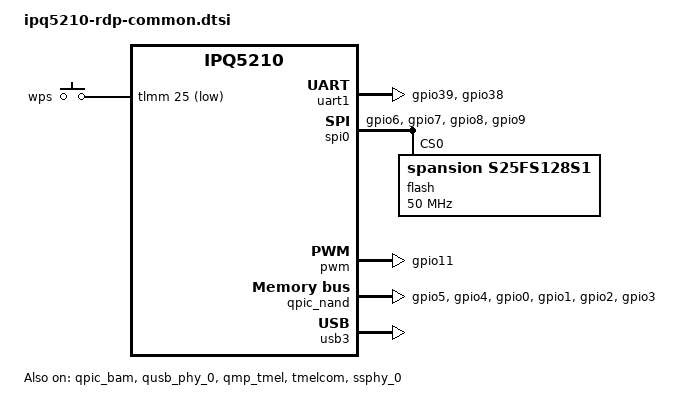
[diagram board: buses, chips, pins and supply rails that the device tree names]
// SPDX-License-Identifier: (GPL-2.0+ OR BSD-3-Clause)
/*
 * IPQ5210 RDP board common device tree source
 *
 * Copyright (c) 2020-2021 The Linux Foundation. All rights reserved.
 * Copyright (c) Qualcomm Technologies, Inc. and/or its subsidiaries.
 */

/dts-v1/;

#include <dt-bindings/input/input.h>
#include "ipq5210.dtsi"

/ {
	aliases {
		serial0 = &uart1;
		serial1 = &uart0;
	};

	chosen {
		stdout-path = "serial0";
		bootargs-append = " clk_ignore_unused pcie_pme=nomsi";
	};

	soc@0 {
		qupv3: geniqup@1ac0000 {
			status = "okay";

			uart0: serial@1a90000 {
				pinctrl-0 = <&qup_uart0_default>;
				pinctrl-names = "default";
			};

			uart1: serial@1a84000 {
				pinctrl-0 = <&qup_uart1_default>;
				pinctrl-names = "default";
				status = "okay";
			};

			spi0: spi@1a80000 {
				pinctrl-0 = <&qup_spi0_default>;
				pinctrl-names = "default";
				status = "okay";

				flash@0 {
					compatible = "spansion,s25fs128s1", "jedec,spi-nor";
					#address-cells = <1>;
					#size-cells = <1>;
					reg = <0>;
					spi-max-frequency = <50000000>;
				};
			};
		};

		gpio-keys {
			compatible = "gpio-keys";
			pinctrl-0 = <&gpio_keys_default>;
			pinctrl-names = "default";
			status = "okay";

			button-wps {
				label = "wps";
				linux,code = <KEY_WPS_BUTTON>;
				gpios = <&tlmm 25 GPIO_ACTIVE_LOW>;
				linux,input-type = <1>;
				debounce-interval = <60>;
			};
		};
	};
};

&pwm {
	pinctrl-0 = <&pwm_default_state>;
	pinctrl-names = "default";
};

&sleep_clk {
	clock-frequency = <32000>;
};

&xo {
	clock-frequency = <24000000>;
};

&ref_48mhz_clk {
	clock-div = <1>;
	clock-mult = <1>;
};

&xo_clk {
	clock-frequency = <48000000>;
};

&qpic_bam {
	status = "okay";
};

&qpic_nand {
	pinctrl-0 = <&qspi_default_state>;
	pinctrl-names = "default";
	status = "okay";
};

&i2c0 {
	pinctrl-0 = <&qup_i2c0_default>;
	pinctrl-names = "default";

	status = "disabled";
};

&qusb_phy_0 {
	status = "okay";
};

&qmp_tmel {
	status = "okay";
};

&tmelcom {
	status = "okay";
};

&ssphy_0 {
	status = "okay";
};

&usb3 {
	status = "okay";
};

&sdhc {
	max-frequency = <192000000>;
	bus-width = <4>;
	mmc-ddr-1_8v;
	mmc-hs200-1_8v;
	non-removable;
	pinctrl-0 = <&sdc_default_state>;
	pinctrl-names = "default";
	status = "disabled";
};

&tlmm {
	gpio_keys_default: gpio-keys-default-state {
		pins = "gpio25";
		function = "gpio";
		drive-strength = <6>;
		bias-pull-up;
	};

	pwm_default_state: pwm-default-state {
		pins = "gpio11";
		function = "pwm_out20";
		drive-strength = <6>;
		bias-pull-down;
	};

	qspi_default_state: qspi-default-state {
		qspi_clock {
			pins = "gpio5";
			function = "qspi_clk";
			drive-strength = <8>;
			bias-pull-down;
		};

		qspi_cs {
			pins = "gpio4";
			function = "qspi_cs_n";
			drive-strength = <8>;
			bias-pull-up;
		};

		qspi_data {
			pins = "gpio0", "gpio1", "gpio2", "gpio3";
			function = "qspi_data";
			drive-strength = <8>;
			bias-pull-down;
		};
	};

	sdc_default_state: sdc-default-state {
		clk-pins {
			pins = "gpio5";
			function = "sdc_clk";
			drive-strength = <8>;
			bias-disable;
		};

		cmd-pins {
			pins = "gpio4";
			function = "sdc_cmd";
			drive-strength = <8>;
			bias-pull-up;
		};

		data-pins {
			pins = "gpio0", "gpio1", "gpio2", "gpio3";
			function = "sdc_data";
			drive-strength = <8>;
			bias-pull-up;
		};
	};

	qup_spi0_default: qup-spi0-default-state {
		qup_spi0_clk {
			pins = "gpio6";
			function = "qup_se0_l2";
			drive-strength = <8>;
			bias-pull-down;
		};

		qup_spi0_cs {
			pins = "gpio7";
			function = "qup_se0_l3";
			drive-strength = <8>;
			bias-pull-up;
		};

		qup_spi0_miso {
			pins = "gpio8";
			function = "qup_se0_l0";
			drive-strength = <8>;
			bias-pull-down;
		};

		qup_spi0_mosi {
			pins = "gpio9";
			function = "qup_se0_l1";
			drive-strength = <8>;
			bias-pull-down;
		};
	};

	qup_uart0_default: qup-uart0-default-state {
		qup_uart0_tx {
			pins = "gpio40";
			function = "qup_se4_l2";
			drive-strength = <6>;
			bias-pull-down;
		};

		qup_uart0_rx {
			pins = "gpio41";
			function = "qup_se4_l3";
			drive-strength = <6>;
			bias-pull-down;
		};

		qup_uart0_cts {
			pins = "gpio42";
			function = "qup_se4_l0";
			drive-strength = <6>;
			bias-pull-down;
		};

		qup_uart0_rfr {
			pins = "gpio43";
			function = "qup_se4_l1";
			drive-strength = <6>;
			bias-pull-down;
		};
	};

	qup_uart1_default: qup-uart1-default-state {
		qup_uart1_tx {
			pins = "gpio39";
			function = "qup_se1_l2";
			drive-strength = <6>;
			bias-pull-down;
		};

		qup_uart1_rx {
			pins = "gpio38";
			function = "qup_se1_l3";
			drive-strength = <6>;
			bias-pull-down;
		};
	};

	qup_i2c0_default: qup-i2c0-default-state {
		qup_i2c0_scl {
			pins = "gpio20";
			function = "qup_se2_l10";
			drive-strength = <6>;
			bias-pull-up;
		};

		qup_i2c0_sda {
			pins = "gpio21";
			function = "qup_se2_l00";
			drive-strength = <6>;
			bias-pull-up;
		};
	};
};
